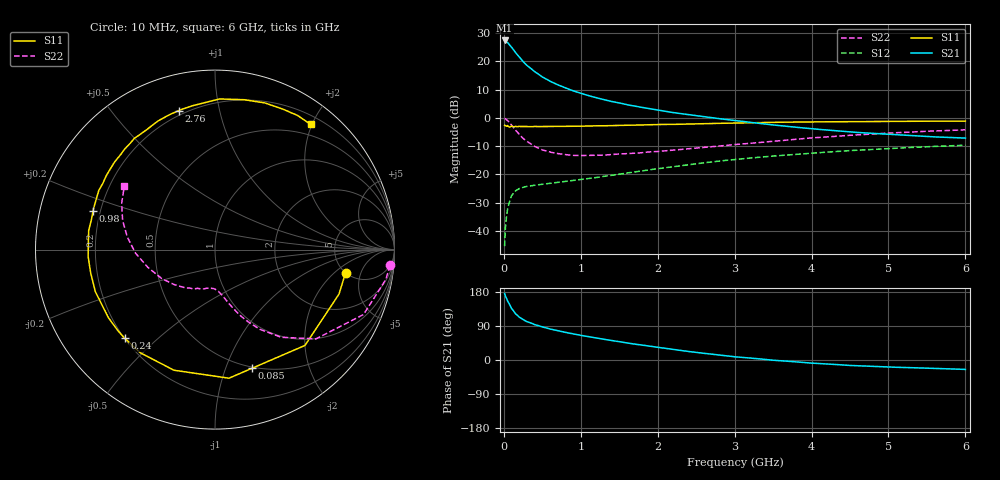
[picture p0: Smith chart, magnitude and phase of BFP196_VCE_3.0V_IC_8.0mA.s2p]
! Infineon Technologies  Discrete & RF Semiconductors
! BFP196
! VCE = 3.0 V,  IC = 8.0mA
! Common Emitter S-Parameters:  Jan 2016
# GHz  S  MA  R  50
!  f  S11  S21  S12  S22
! GHz  MAG  ANG  MAG  ANG  MAG  ANG  MAG  ANG
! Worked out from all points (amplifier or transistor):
!   210 points, 10 MHz to 6 GHz, reference 50 ohm
!   highest |S21| = 27.4 dB at 10 MHz (marker M1)
!   |S21| within 3 dB of that: start of sweep to 117.7 MHz
!   unconditionally stable (mu >= 1): 929.4 MHz to 3.355 GHz
!   at 185 MHz: K = 0.27, MSG = 23.6 dB, |S12| = -25.2 dB
!   at 1.52 GHz: K = 1.16, MAG = 10.1 dB, |S12| = -19.8 dB
!   at 6 GHz: K = 0.98, MSG = 1.3 dB, |S12| = -9.6 dB
!   S11 on the Smith chart (normalised r, x): 10 MHz: 4.98, -2.84; 85 MHz: 0.49, -1.24; 240 MHz: 0.20, -0.39; 980 MHz: 0.17, +0.15; 2.76 GHz: 0.18, +0.76; 6 GHz: 0.33, +1.98
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0.01  0.7386 -10.1  23.43 175.7  0.0054 85.2  0.9788 -5.1
0.02  0.7341 -19.7  22.8 169.3  0.0111 81.1  0.9666 -9.9
0.05  0.7324 -46.8  21.53 155.2  0.0251 67.5  0.9031 -23.6
0.085  0.6927 -72.8  18.77 142.5  0.0369 55.5  0.7879 -35.4
0.1  0.7207 -83.8  17.92 136.0  0.0422 52.5  0.7509 -41.5
0.15  0.7099 -108.8  14.41 122.4  0.0512 42.7  0.6126 -52.9
0.2  0.7097 -125.9  11.92 113.1  0.0563 36.6  0.5102 -60.6
0.24  0.7049 -135.6  10.28 107.8  0.0587 33.9  0.4494 -64.8
0.3  0.7047 -147.4  8.493 101.1  0.0616 31.2  0.3853 -69.7
0.4  0.7065 -160.7  6.59 93.4  0.0645 29.8  0.3135 -75.3
0.5  0.7048 -169.4  5.309 87.3  0.0669 29.5  0.2719 -79.1
0.6  0.7079 -176.9  4.465 81.8  0.0695 30.1  0.2486 -82.4
0.7  0.707 176.6  3.856 77.0  0.0722 31.3  0.2339 -85.2
0.98  0.7127 162.3  2.78 65.9  0.0809 35.1  0.2166 -93.2
1.02  0.7148 160.5  2.673 64.4  0.0822 35.6  0.2165 -94.3
1.4  0.7326 145.8  1.954 51.5  0.0963 39.3  0.2256 -104.5
2.02  0.765 125.4  1.36 33.0  0.1278 41.6  0.2563 -123.2
2.76  0.8004 104.5  0.985 14.1  0.1701 38.5  0.3141 -144.9
3.1  0.815 96.6  0.868 6.9  0.1895 35.3  0.3461 -154.6
4.1  0.8519 77.4  0.627 -9.3  0.2431 25.1  0.4518 -179.7
5.1  0.8701 63.1  0.503 -19.2  0.2918 13.6  0.547 160.6
6  0.8778 52.6  0.44 -24.8  0.3294 2.5  0.6169 145.0
